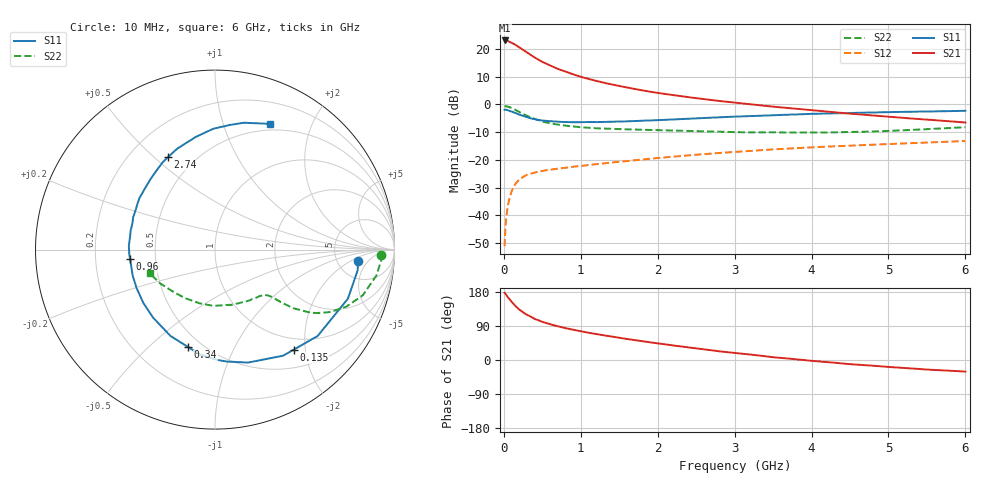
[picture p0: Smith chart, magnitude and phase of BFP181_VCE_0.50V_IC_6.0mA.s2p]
! Infineon Technologies  Discrete & RF Semiconductors
! BFP181
! VCE = 0.50V,  IC =  6.0 mA
! Common Emitter S-Parameters:  Jan 2016
# GHz  S  MA  R  50
!  f  S11  S21  S12  S22
! GHz  MAG  ANG  MAG  ANG  MAG  ANG  MAG  ANG
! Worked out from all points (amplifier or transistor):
!   210 points, 10 MHz to 6 GHz, reference 50 ohm
!   highest |S21| = 23.0 dB at 10 MHz (marker M1)
!   |S21| within 3 dB of that: start of sweep to 228 MHz
!   unconditionally stable (mu >= 1): 676.5 MHz to end of sweep
!   at 185 MHz: K = 0.35, MSG = 24.2 dB, |S12| = -27.6 dB
!   at 1.52 GHz: K = 1.62, MAG = 9.0 dB, |S12| = -20.6 dB
!   at 6 GHz: K = 1.67, MAG = -1.5 dB, |S12| = -13.2 dB
!   S11 on the Smith chart (normalised r, x): 10 MHz: 7.93, -2.81; 135 MHz: 0.79, -1.78; 340 MHz: 0.42, -0.67; 960 MHz: 0.36, -0.05; 2.74 GHz: 0.36, +0.55; 6 GHz: 0.43, +1.44
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0.01  0.7987 -4.6  14.09 177.3  0.0028 86.7  0.9278 -1.7
0.025  0.7985 -10.3  14.02 173.5  0.0072 81.3  0.9245 -4.6
0.05  0.7893 -20.3  13.86 166.3  0.0144 80.4  0.911 -9.1
0.1  0.7475 -40.1  12.87 153.7  0.027 67.1  0.8611 -17.3
0.135  0.7091 -51.9  12.06 146.1  0.034 61.8  0.8148 -21.6
0.15  0.7025 -57.3  11.78 142.6  0.037 60.2  0.7965 -23.6
0.2  0.6558 -73.7  10.65 133.1  0.0441 53.9  0.7306 -28.4
0.26  0.6147 -88.9  9.29 124.2  0.0503 47.8  0.6591 -32.4
0.34  0.5634 -105.4  7.893 115.5  0.056 42.9  0.5908 -35.0
0.42  0.5325 -120.2  6.725 107.1  0.06 39.3  0.5339 -37.0
0.5  0.5125 -132.4  5.794 100.6  0.0633 36.7  0.49 -38.1
0.6  0.4975 -143.5  5.012 94.4  0.0667 35.2  0.4542 -38.9
0.8  0.481 -162.3  3.867 84.1  0.0719 34.2  0.4128 -39.8
0.96  0.4762 -173.7  3.257 77.5  0.0766 34.2  0.3912 -40.9
1.02  0.4782 -177.9  3.071 75.1  0.0781 34.2  0.3844 -41.4
1.5  0.4904 158.5  2.137 58.5  0.0924 34.4  0.3577 -46.9
2.02  0.5195 138.1  1.588 43.3  0.1087 33.8  0.3423 -55.6
2.74  0.5776 117.0  1.175 24.6  0.1312 30.6  0.323 -71.1
3.1  0.6062 108.2  1.038 16.6  0.1419 28.4  0.314 -80.2
4.1  0.6771 89.4  0.762 -3.8  0.1707 21.4  0.3108 -109.3
5.1  0.7276 76.1  0.582 -19.6  0.1953 14.4  0.3358 -138.3
6  0.764 66.4  0.471 -30.6  0.2184 7.4  0.3874 -160.1
